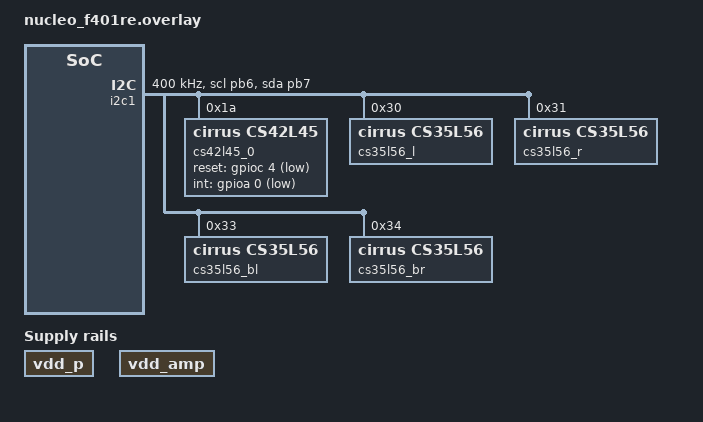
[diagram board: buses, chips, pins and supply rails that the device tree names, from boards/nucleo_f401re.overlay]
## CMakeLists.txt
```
# SPDX-License-Identifier: Apache-2.0

cmake_minimum_required(VERSION 3.20.0)
find_package(Zephyr REQUIRED HINTS $ENV{ZEPHYR_BASE})
project(all_in_one)

FILE(GLOB app_sources src/*.c)
target_sources(app PRIVATE ${app_sources})
```

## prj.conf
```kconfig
CONFIG_GPIO=y
CONFIG_I2C=y
CONFIG_LOG=y

CONFIG_AUDIO=y
CONFIG_AUDIO_CODEC=y
CONFIG_AUDIO_CODEC_CS35L56=y
CONFIG_AUDIO_CODEC_CS35L56_SOUNDWIRE_ASP_ARBITRATION=y

CONFIG_SHELL=y
```

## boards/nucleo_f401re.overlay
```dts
/*
 * Copyright (c) 2026 Cirrus Logic, Inc.
 *
 * SPDX-License-Identifier: Apache-2.0
 */

 #include <zephyr/dt-bindings/gpio/gpio.h>
 #include <zephyr/dt-bindings/i2c/i2c.h>

/ {
    vdd_p: vdd-p {
		compatible = "regulator-fixed";
		regulator-name = "vdd-p";
        regulator-always-on;
	};

    vdd_amp: vdd-amp {
		compatible = "regulator-fixed";
		regulator-name = "vdd-amp";
        regulator-always-on;
	};

    aliases {
		codec0 = &cs42l45_0;
        amp-l = &cs35l56_l;
        amp-r = &cs35l56_r;
        amp-bl = &cs35l56_bl;
        amp-br = &cs35l56_br;
	};
};

&usart1 {
    status = "disabled";
};

&i2c1 {
    status = "okay";

    pinctrl-0 = <&i2c1_scl_pb6 &i2c1_sda_pb7>;
    pinctrl-1 = <&analog_pb6 &analog_pb7>;
	pinctrl-names = "default", "sleep";

    clock-frequency = <I2C_BITRATE_FAST>;

    cs42l45_0: cs42l45@1a {
        compatible = "cirrus,cs42l45";
        reg = <0x1a>;

        reset-gpios = <&gpioc 4 (GPIO_ACTIVE_LOW)>;
        int-gpios = <&gpioa 0 (GPIO_ACTIVE_LOW | GPIO_PULL_UP)>;

        status = "okay";
    };

    cs35l56_l: cs35l56@30 {
        compatible = "cirrus,cs35l56";
        reg = <0x30>;

        cirrus,preempt-config = "ASP";

        status = "okay";
    };

    cs35l56_r: cs35l56@31 {
        compatible = "cirrus,cs35l56";
        reg = <0x31>;

        cirrus,preempt-config = "ASP";

        status = "okay";
    };

    cs35l56_bl: cs35l56@33 {
        compatible = "cirrus,cs35l56";
        reg = <0x33>;

        cirrus,preempt-config = "ASP";

        status = "okay";
    };

    cs35l56_br: cs35l56@34 {
        compatible = "cirrus,cs35l56";
        reg = <0x34>;

        cirrus,preempt-config = "ASP";

        status = "okay";
    };
};
```

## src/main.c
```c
/*
 * Copyright (c) 2026 Cirrus Logic, Inc.
 *
 * SPDX-License-Identifier: Apache-2.0
 */

#include <audio/cs42l45.h>
#include <zephyr/audio/codec.h>
#include <zephyr/device.h>
#include <zephyr/devicetree.h>
#include <zephyr/drivers/gpio.h>
#include <zephyr/kernel.h>
#include <zephyr/logging/log.h>
#include <zephyr/shell/shell.h>
#include <zephyr/sys/util.h>
#if CONFIG_SHELL
#include <stdlib.h>
#endif /* CONFIG_SHELL */

LOG_MODULE_REGISTER(main);

#define AUDIO_AMP_LEFT       0
#define AUDIO_AMP_RIGHT      1
#define AUDIO_AMP_BACK_LEFT  2
#define AUDIO_AMP_BACK_RIGHT 3

#define ASP1_RX1 1
#define ASP1_RX2 2

#define AMP_DAI_CFG_I2S_STEREO 2

struct audio_codec_cfg amp_cfg = {
	.dai_cfg.i2s.word_size = AUDIO_PCM_WIDTH_24_BITS,
	.dai_cfg.i2s.channels = AMP_DAI_CFG_I2S_STEREO,
	.dai_cfg.i2s.frame_clk_freq = AUDIO_PCM_RATE_48K,
	.dai_cfg.i2s.format = (I2S_FMT_DATA_FORMAT_I2S | I2S_FMT_CLK_NF_NB),
	.dai_cfg.i2s.options =
		(I2S_OPT_BIT_CLK_GATED | I2S_OPT_BIT_CLK_TARGET | I2S_OPT_FRAME_CLK_TARGET),
	.dai_route = AUDIO_ROUTE_PLAYBACK,
	.dai_type = AUDIO_DAI_TYPE_I2S,
};

const struct device *amps[] = {
	[AUDIO_AMP_LEFT] = DEVICE_DT_GET(DT_ALIAS(amp_l)),
	[AUDIO_AMP_RIGHT] = DEVICE_DT_GET(DT_ALIAS(amp_r)),
	[AUDIO_AMP_BACK_LEFT] = DEVICE_DT_GET_OR_NULL(DT_ALIAS(amp_bl)),
	[AUDIO_AMP_BACK_RIGHT] = DEVICE_DT_GET_OR_NULL(DT_ALIAS(amp_br)),
};

static const struct device *codec = DEVICE_DT_GET(DT_ALIAS(codec0));

#if !DT_NODE_HAS_STATUS_OKAY(DT_ALIAS(sw0))
#error "Unsupported board: sw0 devicetree alias is not defined"
#else  /* DT_NODE_HAS_STATUS_OKAY(DT_ALIAS(sw0)) */
static const struct gpio_dt_spec button = GPIO_DT_SPEC_GET_OR(DT_ALIAS(sw0), gpios, {0});
#endif /* !DT_NODE_HAS_STATUS_OKAY(DT_ALIAS(sw0)) */

static bool global_mute = false;
static bool monitor_mode = false;
static bool uaj_plug = false;

static void mute_amps(const bool mute)
{
	const audio_property_value_t val = {.mute = mute};
	int ret;

	for (int i = 0; i < ARRAY_SIZE(amps); i++) {
		if (amps[i] != NULL) {
			ret = audio_codec_set_property(amps[i], AUDIO_PROPERTY_OUTPUT_MUTE,
						       AUDIO_CHANNEL_ALL, val);
			if (ret < 0) {
				LOG_ERR("failed to %s %s (%d)", mute ? "mute" : "unmute",
					amps[i]->name, ret);
				return;
			}
		}
	}
}

static void mute_codec(const bool mute)
{
	const audio_property_value_t val = {.mute = mute};
	int ret;

	ret = audio_codec_set_property(codec, AUDIO_PROPERTY_OUTPUT_MUTE, AUDIO_CHANNEL_ALL, val);
	if (ret < 0) {
		LOG_DBG("failed to %s %s (%d)", mute ? "mute" : "unmute", codec->name, ret);
		return;
	}

	ret = audio_codec_apply_properties(codec);
	if (ret < 0) {
		LOG_DBG("failed to apply properties for %s (%d)", codec->name, ret);
	}
}

static void start_amps(const bool start)
{
	for (int i = 0; i < ARRAY_SIZE(amps); i++) {
		if (amps[i] != NULL) {
			start ? audio_codec_start_output(amps[i])
			      : audio_codec_stop_output(amps[i]);
		}
	}
}

static inline void switch_to_monitor_mode(void)
{
	if (!global_mute) {
		if (uaj_plug) {
			mute_amps(true);
			mute_codec(false);
		} else {
			mute_codec(true);
			mute_amps(false);
		}
	}

	start_amps(true);
	audio_codec_start_output(codec);

	monitor_mode = true;
}

static inline void switch_to_pc_mode(void)
{
	audio_codec_stop_output(codec);

	/*
	 * The codec holds onto SDCA interrupts in monitor mode and then unconditionally asserts
	 * the SDCA UAJ interrupt when transitioning to PC mode. If the Windows host was previously
	 * playing audio out of the amps, and we transition to PC mode, then there is a brief time
	 * where the amps are active before the SDCA UAJ interrupt is processed by the Windows
	 * host, introducing undesirable behavior where the amps are active for a fraction of a
	 * second before the Windows host switches to the codec. We can prevent this audio artifact
	 * by holding the amps in monitor mode longer than the codec to give the Windows host time
	 * to process the SDCA UAJ interrupt.
	 */
	if (uaj_plug) {
		(void)k_msleep(1000);
	}

	start_amps(false);

	monitor_mode = false;
}

static struct k_work_delayable irq_worker;
static void button_worker(struct k_work *work)
{
	/* Debounce the switch button. */
	if (gpio_pin_get_dt(&button) == 0) {
		return;
	}

	LOG_INF("button pressed");

	if (monitor_mode) {
		switch_to_pc_mode();
	} else {
		switch_to_monitor_mode();
	}
}

static struct gpio_callback button_cb_data;
static void button_handler(const struct device *port, struct gpio_callback *cb, uint32_t pins)
{
	(void)k_work_schedule(&irq_worker, K_USEC(500));
}

/* Codec is responsible for monitoring the UAJ and reporting events. */
static void codec_callback(const struct device *const dev, const enum cs42l45_event event)
{
	switch (event) {
	/* If a headset is plugged in, mute amplifier output and unmute codec output. */
	case CS42L45_UAJ_PLUGGED:
		uaj_plug = true;

		if (monitor_mode && !global_mute) {
			mute_amps(true);
			mute_codec(false);
		}

		return;
	/* If a headset is unplugged, mute codec output and unmute amplifier output. */
	case CS42L45_UAJ_UNPLUGGED:
		uaj_plug = false;

		if (monitor_mode && !global_mute) {
			mute_codec(true);
			mute_amps(false);
		}

		return;
	/* Ignore these events. */
	case CS42L45_MONITOR_MODE_ENABLED:
		__fallthrough;
	case CS42L45_MONITOR_MODE_DISABLED:
		return;
	/* The codec should not fail to enter monitor mode if a BCLK is present. */
	case CS42L45_MONITOR_MODE_FAILURE:
		LOG_ERR("failed to enter monitor mode, is BCLK missing?");
		return;
	default:
		LOG_DBG("event %d not handled", event);
		return;
	}
}

#if CONFIG_SHELL
#define AIO_PC_HELP     SHELL_HELP("switch to PC mode", NULL)
#define AIO_MM_HELP     SHELL_HELP("switch to monitor mode", NULL)
#define AIO_MUTE_HELP   SHELL_HELP("mute volume in monitor mode", NULL)
#define AIO_UNMUTE_HELP SHELL_HELP("unmute volume in monitor mode", NULL)
#define AIO_VOLUME_HELP SHELL_HELP("set volume in monitor mode", "<volume>")

static int cmd_mm(const struct shell *sh, size_t argc, char **argv)
{
	if (!monitor_mode) {
		switch_to_monitor_mode();
	}

	return 0;
}

static int cmd_pc(const struct shell *sh, size_t argc, char **argv)
{
	if (monitor_mode) {
		switch_to_pc_mode();
	}

	return 0;
}

/* Assuming mutes are global, affecting codec and amps. */
static int cmd_mute(const struct shell *sh, size_t argc, char **argv)
{
	if (uaj_plug) {
		mute_codec(true);
	} else {
		mute_amps(true);
	}

	global_mute = true;

	return 0;
}

/* Assuming unmutes are global, affecting codec and amps. */
static int cmd_unmute(const struct shell *sh, size_t argc, char **argv)
{
	if (uaj_plug) {
		mute_codec(false);
	} else {
		mute_amps(false);
	}

	global_mute = false;

	return 0;
}

static int volume_amps(const audio_property_value_t vol)
{
	int ret;

	for (int i = 0; i < ARRAY_SIZE(amps); i++) {
		if (amps[i] != NULL) {
			ret = audio_codec_set_property(amps[i], AUDIO_PROPERTY_OUTPUT_VOLUME,
						       AUDIO_CHANNEL_ALL, vol);
			if (ret < 0) {
				LOG_DBG("failed to update %s volume (%d)", codec->name, ret);
				return ret;
			}
		}
	}

	return 0;
}

static int volume_codec(const audio_property_value_t vol)
{
	int ret;

	ret = audio_codec_set_property(codec, AUDIO_PROPERTY_OUTPUT_VOLUME, AUDIO_CHANNEL_ALL, vol);
	if (ret < 0) {
		LOG_DBG("failed to update %s volume (%d)", codec->name, ret);
		return ret;
	}

	ret = audio_codec_apply_properties(codec);
	if (ret < 0) {
		LOG_DBG("failed to apply properties for %s (%d)", codec->name, ret);
	}

	return ret;
}

/* Assuming volume is device-specific, affecting only codec or amps based on current UAJ state. */
static int cmd_volume(const struct shell *sh, size_t argc, char **argv)
{
	audio_property_value_t vol = {.vol = strtol(argv[1], NULL, 10)};

	if (uaj_plug) {
		if (!IN_RANGE(vol.vol, -228, 12)) {
			shell_error(sh, "require -228 <= volume <= 12 for codec (unit: 0.5 db)");
			return -EINVAL;
		}

		return volume_codec(vol);
	} else {
		if (!IN_RANGE(vol.vol, -256, 255)) {
			shell_error(sh, "require -256 <= volume <= 255 for amps (unit: 0.5 dB)");
			return -EINVAL;
		}

		/* Amplifier volume must be in S7.8 format */
		vol.vol <<= 7;

		return volume_amps(vol);
	}
}

SHELL_STATIC_SUBCMD_SET_CREATE(aio_cmds, SHELL_CMD_ARG(mm, NULL, AIO_PC_HELP, cmd_mm, 1, 0),
			       SHELL_CMD_ARG(pc, NULL, AIO_MM_HELP, cmd_pc, 1, 0),
			       SHELL_CMD_ARG(mute, NULL, AIO_MUTE_HELP, cmd_mute, 1, 0),
			       SHELL_CMD_ARG(unmute, NULL, AIO_UNMUTE_HELP, cmd_unmute, 1, 0),
			       SHELL_CMD_ARG(volume, NULL, AIO_VOLUME_HELP, cmd_volume, 2, 0),
			       SHELL_SUBCMD_SET_END);

SHELL_CMD_REGISTER(aio, &aio_cmds, "all-in-one shell commands", NULL);
#endif /* CONFIG_SHELL */

static int init_amps(void)
{
	const audio_property_value_t unmute = {.mute = false};
	int ret;

	if (amps[AUDIO_AMP_LEFT] == NULL || amps[AUDIO_AMP_RIGHT] == NULL) {
		LOG_DBG("No stereo pair found");
		return -ENODEV;
	}

	for (int i = 0; i < ARRAY_SIZE(amps); i++) {
		if (amps[i] == NULL) {
			continue;
		}

		if (!device_is_ready(amps[i])) {
			LOG_DBG("%s is not ready", amps[i]->name);
			return -EIO;
		}

		ret = audio_codec_configure(amps[i], &amp_cfg);
		if (ret < 0) {
			LOG_DBG("failed to configure %s (%d)", amps[i]->name, ret);
			return ret;
		}

		if (i % 2 == 0) {
			ret = audio_codec_route_output(amps[i], AUDIO_CHANNEL_FRONT_LEFT, ASP1_RX1);
		} else {
			ret = audio_codec_route_output(amps[i], AUDIO_CHANNEL_FRONT_RIGHT,
						       ASP1_RX2);
		}
		if (ret < 0) {
			LOG_DBG("failed to route %s (%d)", amps[i]->name, ret);
			return ret;
		}

		/* Unmute the amps by default. */
		ret = audio_codec_set_property(amps[i], AUDIO_PROPERTY_OUTPUT_MUTE,
					       AUDIO_CHANNEL_ALL, unmute);
		if (ret < 0) {
			LOG_DBG("failed to unmute %s (%d)", amps[i]->name, ret);
			return ret;
		}
	}

	return 0;
}

static int init_codec(void)
{
	const audio_property_value_t unmute = {.mute = false};
	int ret;

	if (!device_is_ready(codec)) {
		return -ENODEV;
	}

	/* Callback for monitoring plug/unplug events at the application level. */
	cs42l45_register_callback(codec, codec_callback);

	/*
	 * It's possible for the initial UAJ detection procedure to complete before the callback
	 * is registered, in which case the uaj_plug status may be erroneously false. Consequently,
	 * we need to read the initial UAJ status during bringup.
	 */
	ret = cs42l45_get_uaj_state(codec, &uaj_plug);
	if (ret < 0) {
		LOG_DBG("failed to get initial UAJ state for %s (%d)", codec->name, ret);
		return ret;
	}

	/* Unmute the codec by default. */
	ret = audio_codec_set_property(codec, AUDIO_PROPERTY_OUTPUT_MUTE, AUDIO_CHANNEL_ALL,
				       unmute);
	if (ret < 0) {
		LOG_DBG("failed to configure %s (%d)", codec->name, ret);
		return ret;
	}

	return audio_codec_apply_properties(codec);
}

static int init_button(void)
{
	int ret;

	if (!gpio_is_ready_dt(&button)) {
		return -ENODEV;
	}

	k_work_init_delayable(&irq_worker, button_worker);

	ret = gpio_pin_configure_dt(&button, GPIO_INPUT);
	if (ret < 0) {
		LOG_DBG("failed to configure %s (%d)", button.port->name, ret);
		return ret;
	}

	ret = gpio_pin_interrupt_configure_dt(&button, GPIO_INT_EDGE_TO_ACTIVE);
	if (ret < 0) {
		LOG_DBG("failed to configure %s (%d)", button.port->name, ret);
		return ret;
	}

	gpio_init_callback(&button_cb_data, button_handler, BIT(button.pin));

	return gpio_add_callback(button.port, &button_cb_data);
}

int main(void)
{
	int ret;

	ret = init_amps();
	if (ret < 0) {
		LOG_ERR("failed to initialize amps (%d)", ret);
		return ret;
	}

	ret = init_codec();
	if (ret < 0) {
		LOG_ERR("failed to initialize %s (%d)", codec->name, ret);
		return ret;
	}

	ret = init_button();
	if (ret < 0) {
		LOG_ERR("failed to initialize %s (%d)", button.port->name, ret);
		return ret;
	}

	return 0;
}
```
